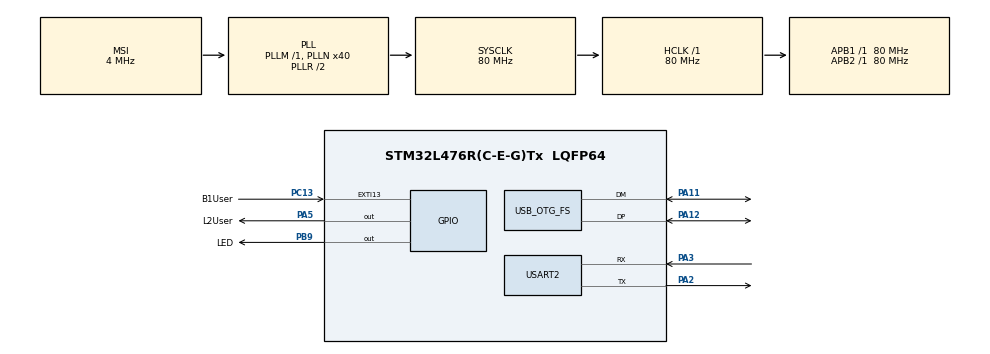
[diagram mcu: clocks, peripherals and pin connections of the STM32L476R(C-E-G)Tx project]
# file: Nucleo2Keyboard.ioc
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Mcu.Family=STM32L4
Mcu.Name=STM32L476R(C-E-G)Tx
Mcu.Package=LQFP64
NVIC.EXTI15_10_IRQn=true\:0\:0\:false\:false\:true\:true\:true\:true
NVIC.OTG_FS_IRQn=true\:0\:0\:false\:false\:true\:false\:true\:true
NVIC.PriorityGroup=NVIC_PRIORITYGROUP_4
PA11.Mode=Device_Only
PA11.Signal=USB_OTG_FS_DM
PA12.Mode=Device_Only
PA12.Signal=USB_OTG_FS_DP
PA2.Mode=Asynchronous
PA2.Signal=USART2_TX
PA3.Mode=Asynchronous
PA3.Signal=USART2_RX
PA5.GPIO_Label=L2User
PA5.Signal=GPIO_Output
PB9.GPIO_Label=LED
PB9.Signal=GPIO_Output
PC13.GPIO_Label=B1User
PC13.GPIO_ModeDefaultEXTI=GPIO_MODE_IT_RISING_FALLING
PC13.Signal=GPXTI13
PC14-OSC32_IN\ (PC14).Mode=LSE-External-Oscillator
PC14-OSC32_IN\ (PC14).Signal=RCC_OSC32_IN
PC15-OSC32_OUT\ (PC15).Mode=LSE-External-Oscillator
PC15-OSC32_OUT\ (PC15).Signal=RCC_OSC32_OUT
ProjectManager.HeapSize=0x200
ProjectManager.StackSize=0x400
ProjectManager.TargetToolchain=STM32CubeIDE
RCC.ADCFreq_Value=48000000
RCC.AHBFreq_Value=80000000
RCC.APB1Freq_Value=80000000
RCC.APB1TimFreq_Value=80000000
RCC.APB2Freq_Value=80000000
RCC.APB2TimFreq_Value=80000000
RCC.CortexFreq_Value=80000000
RCC.HCLKFreq_Value=80000000
RCC.HSE_VALUE=8000000
RCC.HSI_VALUE=16000000
RCC.MSI_VALUE=4000000
RCC.PLLN=40
RCC.PLLSAI1N=24
RCC.SYSCLKFreq_VALUE=80000000
RCC.SYSCLKSource=RCC_SYSCLKSOURCE_PLLCLK
RCC.USBFreq_Value=48000000
RCC.VCOOutputFreq_Value=160000000
USART2.VirtualMode-Asynchronous=VM_ASYNC
USB_DEVICE.CLASS_NAME_FS=CUSTOM_HID
USB_DEVICE.USBD_CUSTOM_HID_REPORT_DESC_SIZE=63
USB_DEVICE.VirtualMode=CustomHid
USB_DEVICE.VirtualModeFS=Custom_Hid_FS
USB_OTG_FS.VirtualMode=Device_Only
VP_USB_DEVICE_VS_USB_DEVICE_CUSTOM_HID_FS.Mode=CUSTOM_HID_FS
board=custom

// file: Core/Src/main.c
/* USER CODE BEGIN Header */
/**
  ******************************************************************************
  * @file           : main.c
  * @brief          : Main program body
  ******************************************************************************
  * @attention
  *
  * Copyright (c) 2026 STMicroelectronics.
  * All rights reserved.
  *
  * This software is licensed under terms that can be found in the LICENSE file
  * in the root directory of this software component.
  * If no LICENSE file comes with this software, it is provided AS-IS.
  *
  ******************************************************************************
  */
/* USER CODE END Header */
#include "main.h"
#include "usb_device.h"

/* USER CODE BEGIN Includes */
#include "usbd_customhid.h"
/* USER CODE END Includes */

/* USER CODE BEGIN PD */
//Définition des codes des touches
#define KEY_UP    0x52
/* USER CODE END PD */

UART_HandleTypeDef huart2;

/* USER CODE BEGIN PV */
extern USBD_HandleTypeDef hUsbDeviceFS;	// Canal pour la communication USB
uint8_t keyboardReport[8] = {0};		// Buffer de 8 octets pour le rapport USB à envoyer
volatile uint8_t event_detected = 0;	// Signaler un changement d'état
/* USER CODE END PV */

void SystemClock_Config(void);
static void MX_GPIO_Init(void);
static void MX_USART2_UART_Init(void);

int main(void)
{

  /* MCU Configuration--------------------------------------------------------*/

  /* Reset of all peripherals, Initializes the Flash interface and the Systick. */
  HAL_Init();

  /* Configure the system clock */
  SystemClock_Config();

  /* Initialize all configured peripherals */
  MX_GPIO_Init();
  MX_USART2_UART_Init();
  MX_USB_DEVICE_Init();

  /* Infinite loop */
  while (1)
  {

    /* USER CODE BEGIN 3 */
		//On regarde si une interruption a eu lieu
		if (event_detected){
			// Si c'est le cas on vérifie quel est l'évènement
			if (HAL_GPIO_ReadPin(GPIOC, GPIO_PIN_13) == GPIO_PIN_RESET){
				// Si le bouton est enfoncé, on met la touche dans le Buffer
				keyboardReport[2] = KEY_UP;
			}
			else{
				// Sinon la touche est relachée : on vide le buffer
				keyboardReport[2] = (int) NULL;
			}
			// Tant que l'état du bouton n'est pas re-modifié, le buffer ne peut pas changer
			event_detected = 0;
		}
		// On envoie en boucle le buffer : on a un appuie long si on maintient le bouton
		USBD_CUSTOM_HID_SendReport(&hUsbDeviceFS, keyboardReport, 8);
		HAL_Delay(10); // Court délai pour ne pas surcharger le canal
  }
  /* USER CODE END 3 */
}

void SystemClock_Config(void)
{
  RCC_OscInitTypeDef RCC_OscInitStruct = {0};
  RCC_ClkInitTypeDef RCC_ClkInitStruct = {0};

  /** Configure the main internal regulator output voltage
  */
  if (HAL_PWREx_ControlVoltageScaling(PWR_REGULATOR_VOLTAGE_SCALE1) != HAL_OK)
  {
    Error_Handler();
  }

  /** Configure LSE Drive Capability
  */
  HAL_PWR_EnableBkUpAccess();
  __HAL_RCC_LSEDRIVE_CONFIG(RCC_LSEDRIVE_LOW);

  /** Initializes the RCC Oscillators according to the specified parameters
  * in the RCC_OscInitTypeDef structure.
  */
  RCC_OscInitStruct.OscillatorType = RCC_OSCILLATORTYPE_LSE|RCC_OSCILLATORTYPE_MSI;
  RCC_OscInitStruct.LSEState = RCC_LSE_ON;
  RCC_OscInitStruct.MSIState = RCC_MSI_ON;
  RCC_OscInitStruct.MSICalibrationValue = 0;
  RCC_OscInitStruct.MSIClockRange = RCC_MSIRANGE_6;
  RCC_OscInitStruct.PLL.PLLState = RCC_PLL_ON;
  RCC_OscInitStruct.PLL.PLLSource = RCC_PLLSOURCE_MSI;
  RCC_OscInitStruct.PLL.PLLM = 1;
  RCC_OscInitStruct.PLL.PLLN = 40;
  RCC_OscInitStruct.PLL.PLLP = RCC_PLLP_DIV7;
  RCC_OscInitStruct.PLL.PLLQ = RCC_PLLQ_DIV2;
  RCC_OscInitStruct.PLL.PLLR = RCC_PLLR_DIV2;
  if (HAL_RCC_OscConfig(&RCC_OscInitStruct) != HAL_OK)
  {
    Error_Handler();
  }

  /** Initializes the CPU, AHB and APB buses clocks
  */
  RCC_ClkInitStruct.ClockType = RCC_CLOCKTYPE_HCLK|RCC_CLOCKTYPE_SYSCLK
                              |RCC_CLOCKTYPE_PCLK1|RCC_CLOCKTYPE_PCLK2;
  RCC_ClkInitStruct.SYSCLKSource = RCC_SYSCLKSOURCE_PLLCLK;
  RCC_ClkInitStruct.AHBCLKDivider = RCC_SYSCLK_DIV1;
  RCC_ClkInitStruct.APB1CLKDivider = RCC_HCLK_DIV1;
  RCC_ClkInitStruct.APB2CLKDivider = RCC_HCLK_DIV1;

  if (HAL_RCC_ClockConfig(&RCC_ClkInitStruct, FLASH_LATENCY_4) != HAL_OK)
  {
    Error_Handler();
  }

  /** Enable MSI Auto calibration
  */
  HAL_RCCEx_EnableMSIPLLMode();
}

static void MX_USART2_UART_Init(void)
{

  huart2.Instance = USART2;
  huart2.Init.BaudRate = 115200;
  huart2.Init.WordLength = UART_WORDLENGTH_8B;
  huart2.Init.StopBits = UART_STOPBITS_1;
  huart2.Init.Parity = UART_PARITY_NONE;
  huart2.Init.Mode = UART_MODE_TX_RX;
  huart2.Init.HwFlowCtl = UART_HWCONTROL_NONE;
  huart2.Init.OverSampling = UART_OVERSAMPLING_16;
  huart2.Init.OneBitSampling = UART_ONE_BIT_SAMPLE_DISABLE;
  huart2.AdvancedInit.AdvFeatureInit = UART_ADVFEATURE_NO_INIT;
  if (HAL_UART_Init(&huart2) != HAL_OK)
  {
    Error_Handler();
  }

}

static void MX_GPIO_Init(void)
{
  GPIO_InitTypeDef GPIO_InitStruct = {0};

  /* GPIO Ports Clock Enable */
  __HAL_RCC_GPIOC_CLK_ENABLE();
  __HAL_RCC_GPIOA_CLK_ENABLE();
  __HAL_RCC_GPIOB_CLK_ENABLE();

  /*Configure GPIO pin Output Level */
  HAL_GPIO_WritePin(L2User_GPIO_Port, L2User_Pin, GPIO_PIN_RESET);

  /*Configure GPIO pin Output Level */
  HAL_GPIO_WritePin(LED_GPIO_Port, LED_Pin, GPIO_PIN_RESET);

  /*Configure GPIO pin : B1User_Pin */
  GPIO_InitStruct.Pin = B1User_Pin;
  GPIO_InitStruct.Mode = GPIO_MODE_IT_RISING_FALLING;
  GPIO_InitStruct.Pull = GPIO_NOPULL;
  HAL_GPIO_Init(B1User_GPIO_Port, &GPIO_InitStruct);

  /*Configure GPIO pin : L2User_Pin */
  GPIO_InitStruct.Pin = L2User_Pin;
  GPIO_InitStruct.Mode = GPIO_MODE_OUTPUT_PP;
  GPIO_InitStruct.Pull = GPIO_NOPULL;
  GPIO_InitStruct.Speed = GPIO_SPEED_FREQ_LOW;
  HAL_GPIO_Init(L2User_GPIO_Port, &GPIO_InitStruct);

  /*Configure GPIO pin : LED_Pin */
  GPIO_InitStruct.Pin = LED_Pin;
  GPIO_InitStruct.Mode = GPIO_MODE_OUTPUT_PP;
  GPIO_InitStruct.Pull = GPIO_NOPULL;
  GPIO_InitStruct.Speed = GPIO_SPEED_FREQ_LOW;
  HAL_GPIO_Init(LED_GPIO_Port, &GPIO_InitStruct);

  /* EXTI interrupt init*/
  HAL_NVIC_SetPriority(EXTI15_10_IRQn, 0, 0);
  HAL_NVIC_EnableIRQ(EXTI15_10_IRQn);

}

/* USER CODE BEGIN 4 */
void HAL_GPIO_EXTI_Callback(uint16_t GPIO_Pin){
	// Fonction pour activer les interruptions
    if (GPIO_Pin == GPIO_PIN_13){							// Si le pin détecté correspond au bouton
        event_detected = 1;									// Alors on le signale au reste du programme
        HAL_GPIO_TogglePin(GPIOA, GPIO_PIN_5);	// et on active la LED pour montrer que l'interruption fonctionne
    }
}
/* USER CODE END 4 */

void Error_Handler(void)
{
  __disable_irq();
  while (1)
  {
  }
}
